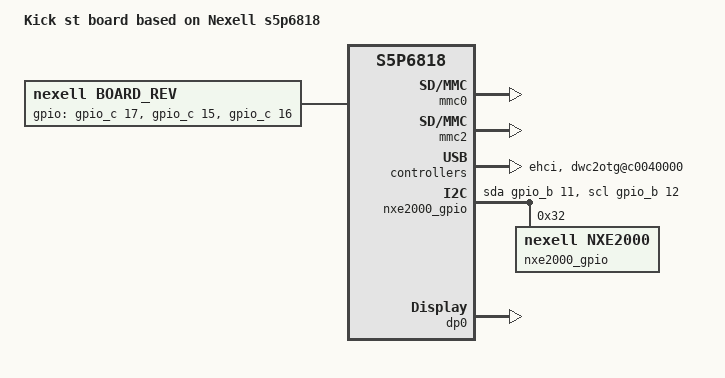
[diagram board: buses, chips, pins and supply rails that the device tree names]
/*
 * (C) Copyright 2016 Nexell
 * Young bok <ybpark@nexell.co.kr>
 *
 * SPDX-License-Identifier: GPL-2.0+
 */

/dts-v1/;
#include "s5p6818.dtsi"
#include "s5p6818-kick-st-nxe2000.dtsi"

/ {
	model = "Kick st board based on Nexell s5p6818";
	cpu-model = "S5p6818";

	compatible = "nexell,kick-st", "nexell,s5p6818";

	mmc0:mmc@c0062000 {
		frequency = <50000000>;
		nexell,drive_dly = <0x0>;
		nexell,drive_shift = <0x03>;
		nexell,sample_dly = <0x00>;
		nexell,sample_shift = <0x02>;
		status = "okay";
	};

	mmc2:mmc@c0069000 {
		frequency = <50000000>;
		nexell,drive_dly = <0x0>;
		nexell,drive_shift = <0x03>;
		nexell,sample_dly = <0x00>;
		nexell,sample_shift = <0x02>;
		nexell,bus-width = <4>;
		index = <2>;
		status = "okay";
	};

	ehci:usbhost@c0030000 {
		status = "okay";
	};

	dwc2otg@c0040000 {
		status = "okay";
	};

	nxe2000_gpio:i2c_gpio@0 {
		compatible = "i2c-gpio";
		#address-cells = <1>;
		#size-cells = <0>;
		gpios = <&gpio_b 11 1>,	/* SDA */
		      <&gpio_b 12 1>;	/* SCL */

		i2c-gpio,delay-us = <3>;
		nxe2000_gpio@32 {
			compatible = "nexell,nxe2000";
			reg = <0x32>;
		};
	};

	board_rev:rev@0 {
		#address-cells = <1>;
		#size-cells = <0>;
		gpios = < &gpio_c 17 0 >,
		      < &gpio_c 15 0 >,
		      < &gpio_c 16 0 >;
		maps = < 7 0 >;
		compatible = "nexell,board_rev";
	};

};

&dp0 {
        status = "okay";
        module = <0>;
        lcd-type = "mipi";

	dp-device {
		hs_bitrate = <1000>;
		lp_bitrate = <80>;
	};

        dp-sync {
		h_active_len = <1920>;
		h_front_porch = <466>;
		h_back_porch = <11>;
		h_sync_width = <11>;
		v_active_len = <1200>;
		v_front_porch = <10>;
		v_back_porch = <5>;
		v_sync_width = <5>;
	};

	dp-ctrl {
		clk_src_lv0 = <0>;
		clk_div_lv0 = <5>;
		clk_src_lv1 = <7>;
		clk_div_lv1 = <1>;
		out_format = <3>;
		vs_start_offset = <2387>;
		ev_start_offset = <2387>;
		vs_end_offset = <0>;
		ev_end_offset = <0>;
	};

	dp-planes {
		layer_top {
			screen_width = <1920>;
			screen_height = <1200>;
			back_color = <0x0>;
		};

		layer_1 {	/* RGB 1 */
			width = <1920>;
			height = <1200>;
			format = <0x06530000>;
			pixel_byte = <4>;
		};
	};
};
